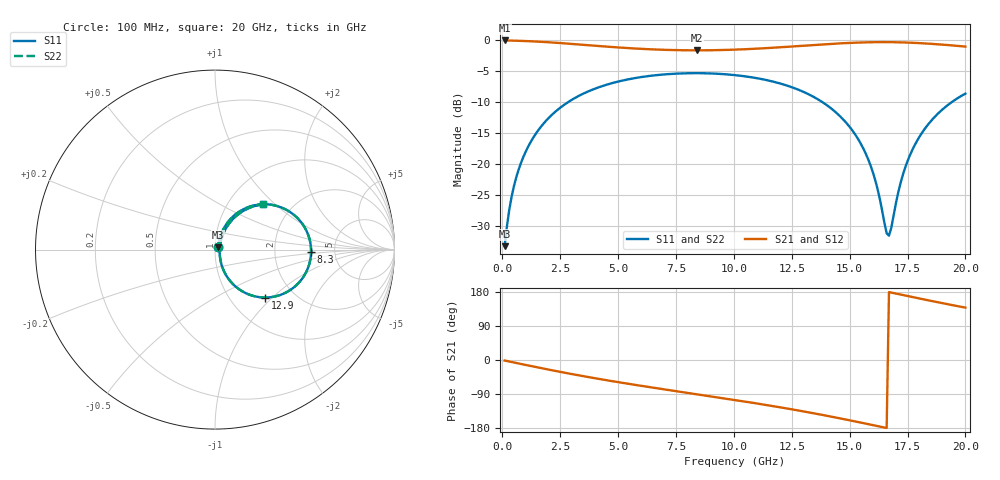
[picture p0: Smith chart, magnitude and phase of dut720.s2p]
! Touchstone file exported from HFSS 2026.1.0
!  File:  C:/ffzhzh/LocalFiles/Ansys_Project_Files/temp_train_TSV_RDL_720_1783201426_55132.aedt
!  Generated:  05:54:06 AM Jul  5, 2026
!  Design:  TSV_RDL
!  Project:  temp_train_TSV_RDL_720_1783201426_55132
! Variables:
!  h_bsmrdl = 4.8um
!  h_ox = 20um
!  h_rdl = 5um
!  h_sub = 90.42um
!  h_tmrdl = 5.53um
!  h_tsv = 90.42um
!  h_via = 3um
!  l_bsmrdl = 708.93um
!  l_sub = 3248.86um
!  l_tmrdl = 155.61um
!  m_sub = 200um
!  pitch = 48.64um
!  r_tsv = 14.34um
!  s_tmrdl = 10um
!  w_bsmrdl = 10.66um
!  w_sub = 500um
!  w_tmrdl = 22.55um
!  x_tsv_center1 = 166.885um
!  x_tsv_center2 = 886.475um
!  x_tsv_center3 = 1064.635um
!  x_tsv_center4 = 1784.225um
!  x_tsv_center5 = 1962.385um
!  x_tsv_center6 = 2681.975um
# GHz S MA R 50.000000
! Terminal data exported
! Port[1] = TM_RDL1_1_T1
! Port[2] = TM_RDL5_1_T1
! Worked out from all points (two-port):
!   200 points, 100 MHz to 20 GHz, reference 50 ohm
!   highest |S21| = -0.15 dB at 100 MHz (marker M1); lowest = -1.7 dB at 8.4 GHz (marker M2)
!   |S21| within 3 dB of the highest: start of sweep to end of sweep
!   lowest |S11| = -33.3 dB at 100 MHz (marker M3), VSWR 1.04, Z = 51.8 + j1.3 ohm
!   |S11| at or under -10 dB: start of sweep to 2.878 GHz; 13.79 GHz to 19.44 GHz (5.656 GHz wide, 34 % of centre)
!   |S22| runs from -33.3 to -5.4 dB; largest |S21 - S12| = 1.6e-14
!   S11 on the Smith chart (normalised r, x): 100 MHz: 1.04, +0.03; 8.3 GHz: 3.30, -0.12; 12.9 GHz: 1.44, -0.90; 20 GHz: 1.44, +0.84
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0.1  0.02163 35.5  0.9826 -1.3  0.9826 -1.3  0.02163 35.5
! Gamma 0 0 0 0
! Port Impedance 50 0 50 0
0.3  0.04237 60.6  0.9811 -4.0  0.9811 -4.0  0.04237 60.6
0.5  0.06554 66.6  0.979 -6.6  0.979 -6.6  0.06554 66.6
1.1  0.1351 67.1  0.9704 -14.2  0.9704 -14.2  0.1351 67.1
2.1  0.2432 58.2  0.9478 -26.5  0.9478 -26.5  0.2432 58.2
3.5  0.3665 43.6  0.9061 -42.7  0.9061 -42.7  0.3665 43.6
5  0.4583 28.6  0.8631 -58.4  0.8631 -58.4  0.4583 28.6
6.8  0.5195 11.9  0.8282 -75.7  0.8282 -75.7  0.5195 11.9
8.3  0.5356 -1.3  0.818 -89.5  0.818 -89.5  0.5356 -1.3
8.4  0.5356 -2.2  0.818 -90.4  0.818 -90.4  0.5356 -2.2
10.1  0.5152 -17.2  0.8294 -106.1  0.8294 -106.1  0.5152 -17.2
12.9  0.3862 -43.7  0.8888 -134.5  0.8888 -134.5  0.3862 -43.7
13.4  0.3486 -48.7  0.9021 -140.0  0.9021 -140.0  0.3486 -48.7
14.6  0.2396 -60.5  0.9312 -154.2  0.9312 -154.2  0.2396 -60.5
15.5  0.1427 -67.2  0.9466 -165.4  0.9466 -165.4  0.1428 -67.0
16  0.08569 -66.2  0.9513 -171.8  0.9513 -171.8  0.08575 -66.0
16.6  0.02749 -20.1  0.9525 -179.5  0.9525 -179.5  0.02776 -19.8
16.7  0.02628 4.9  0.9522 179.2  0.9522 179.2  0.02658 4.9
17.3  0.08132 61.0  0.9474 171.4  0.9474 171.4  0.08145 60.9
17.9  0.1513 62.3  0.9377 163.7  0.9377 163.7  0.1514 62.2
18.8  0.2515 55.3  0.9156 152.5  0.9156 152.5  0.2516 55.3
20  0.3666 43.4  0.8774 138.2  0.8774 138.2  0.3667 43.3
